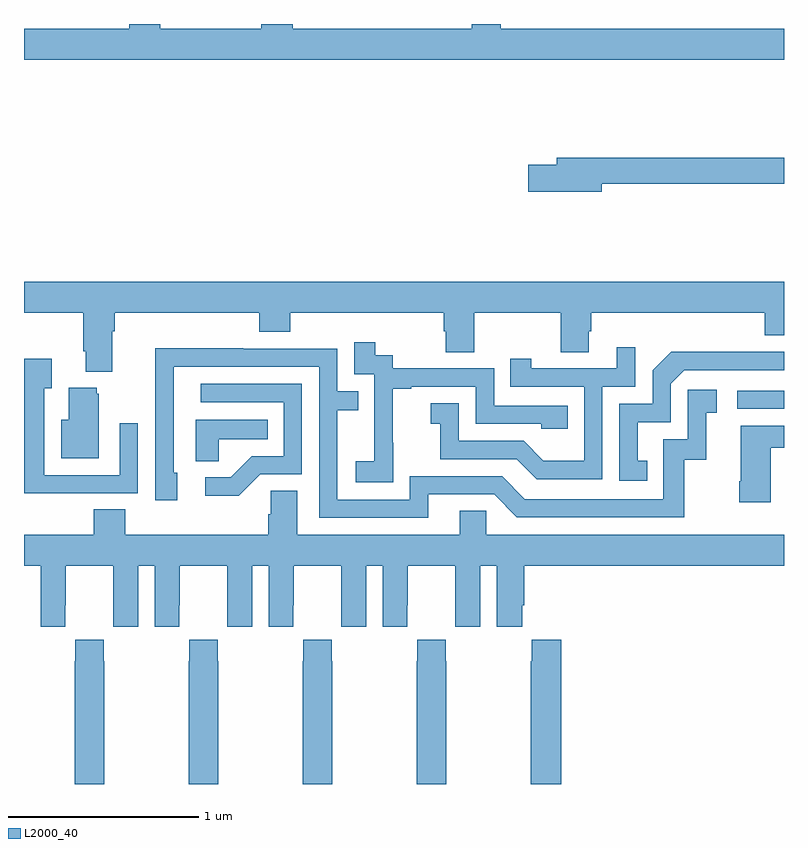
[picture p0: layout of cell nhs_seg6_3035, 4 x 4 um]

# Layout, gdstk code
import gdstk
lib = gdstk.Library(unit=1e-6, precision=1e-09)
def R(c, l, rs):  # rectangles x0, y0, x1, y1
    for r in rs: c.add(gdstk.rectangle(r[:2], r[2:], *l))
def P(c, l, *ps):  # polygons
    for p in ps: c.add(gdstk.Polygon(p, *l))
L2000_40 = (2000, 40)

nhs_seg6_3035 = lib.new_cell('nhs_seg6_3035')
R(nhs_seg6_3035, L2000_40, [(292.755,969.474,293,969.57)])
P(nhs_seg6_3035, L2000_40, [(293,971.476),(291.508,971.476),(291.508,971.5),(291.356,971.5),(291.356,971.476),(290.414,971.476),(290.414,971.5),(290.249,971.5),(290.249,971.476),(289.718,971.476),(289.718,971.5),(289.553,971.5),(289.553,971.476),(289,971.476),(289,971.312),(293,971.312)],
  [(292.042,970.66),(293,970.66),(293,970.796),(291.803,970.796),(291.803,970.76),(291.654,970.76),(291.654,970.618),(292.042,970.618)],
  [(289.465,969.884),(289.478,969.884),(289.478,969.98),(290.237,969.98),(290.237,969.881),(290.402,969.881),(290.402,969.98),(291.209,969.98),(291.209,969.882),(291.221,969.882),(291.221,969.772),(291.369,969.772),(291.369,969.98),(291.826,969.98),(291.826,969.772),(291.973,969.772),(291.973,969.882),(291.986,969.882),(291.986,969.98),(292.898,969.98),(292.898,969.863),(293,969.863),(293,970.144),(289,970.144),(289,969.98),(289.313,969.98),(289.313,969.778),(289.325,969.778),(289.325,969.671),(289.465,969.671)],
  [(290.943,969.295),(290.942,969.295),(290.942,969.579),(291.037,969.579),(291.037,969.591),(291.378,969.591),(291.378,969.396),(291.723,969.396),(291.723,969.369),(291.863,969.369),(291.863,969.492),(291.474,969.492),(291.474,969.687),(290.94,969.687),(290.94,969.756),(290.848,969.756),(290.848,969.826),(290.739,969.826),(290.739,969.657),(290.844,969.657),(290.844,969.428),(290.843,969.428),(290.843,969.199),(290.745,969.199),(290.745,969.089),(290.943,969.089)],
  [(292.044,969.591),(292.218,969.591),(292.218,969.799),(292.121,969.799),(292.121,969.687),(291.67,969.687),(291.67,969.739),(291.559,969.739),(291.559,969.591),(291.948,969.591),(291.948,969.202),(291.734,969.202),(291.63,969.306),(291.288,969.306),(291.288,969.505),(291.141,969.505),(291.141,969.395),(291.19,969.395),(291.19,969.21),(291.593,969.21),(291.698,969.105),(292.044,969.105)],
  [(291.127,969.024),(291.474,969.024),(291.594,968.904),(292.474,968.904),(292.474,969.207),(292.592,969.207),(292.592,969.453),(292.645,969.453),(292.645,969.574),(292.494,969.574),(292.494,969.315),(292.365,969.315),(292.365,969),(291.636,969),(291.516,969.12),(291.03,969.12),(291.03,968.997),(290.649,968.997),(290.649,969.466),(290.759,969.466),(290.759,969.567),(290.649,969.567),(290.649,969.792),(290.153,969.792),(290.153,969.794),(289.69,969.794),(289.69,969.487),(289.692,969.487),(289.692,968.994),(289.807,968.994),(289.807,969.138),(289.788,969.138),(289.788,969.696),(290.553,969.696),(290.553,968.901),(291.127,968.901)],
  [(292.28,969.201),(292.231,969.201),(292.231,969.405),(292.404,969.405),(292.404,969.606),(292.476,969.678),(293,969.678),(293,969.774),(292.814,969.774),(292.814,969.776),(292.406,969.776),(292.308,969.678),(292.308,969.501),(292.134,969.501),(292.134,969.096),(292.28,969.096)],
  [(289.283,969.03),(289.599,969.03),(289.599,969.4),(289.503,969.4),(289.503,969.126),(289.107,969.126),(289.107,969.583),(289.147,969.583),(289.147,969.739),(289,969.739),(289,969.029),(289.283,969.029)],
  [(290.244,969.129),(290.463,969.129),(290.463,969.606),(289.929,969.606),(289.929,969.51),(290.367,969.51),(290.367,969.225),(290.198,969.225),(290.087,969.114),(289.953,969.114),(289.953,969.017),(290.131,969.017)],
  [(289.393,969.555),(289.382,969.555),(289.382,969.586),(289.235,969.586),(289.235,969.418),(289.196,969.418),(289.196,969.215),(289.393,969.215)],
  [(290.025,969.314),(290.282,969.314),(290.282,969.418),(289.904,969.418),(289.904,969.199),(290.025,969.199)],
  [(292.93,969.271),(293,969.271),(293,969.385),(292.772,969.385),(292.772,969.094),(292.765,969.094),(292.765,968.982),(292.93,968.982)],
  [(289.218,968.44),(289.219,968.44),(289.219,968.648),(289.469,968.648),(289.469,968.44),(289.47,968.44),(289.47,968.328),(289.6,968.328),(289.6,968.648),(289.688,968.648),(289.688,968.328),(289.818,968.328),(289.818,968.44),(289.819,968.44),(289.819,968.648),(290.069,968.648),(290.069,968.44),(290.07,968.44),(290.07,968.328),(290.2,968.328),(290.2,968.648),(290.288,968.648),(290.288,968.328),(290.418,968.328),(290.418,968.44),(290.419,968.44),(290.419,968.648),(290.669,968.648),(290.669,968.44),(290.67,968.44),(290.67,968.328),(290.8,968.328),(290.8,968.648),(290.888,968.648),(290.888,968.328),(291.018,968.328),(291.018,968.44),(291.019,968.44),(291.019,968.648),(291.269,968.648),(291.269,968.44),(291.27,968.44),(291.27,968.328),(291.4,968.328),(291.4,968.648),(291.488,968.648),(291.488,968.328),(291.622,968.328),(291.622,968.44),(291.632,968.44),(291.632,968.648),(293,968.648),(293,968.812),(291.432,968.812),(291.432,968.939),(291.293,968.939),(291.293,968.812),(290.437,968.812),(290.437,969.044),(290.298,969.044),(290.298,968.921),(290.285,968.921),(290.285,968.812),(289.532,968.812),(289.532,968.945),(289.367,968.945),(289.367,968.812),(289,968.812),(289,968.648),(289.088,968.648),(289.088,968.328),(289.218,968.328)],
  [(289.422,968.147),(289.419,968.147),(289.419,968.26),(289.269,968.26),(289.269,968.147),(289.267,968.147),(289.267,967.5),(289.422,967.5)],
  [(291.827,968.26),(291.673,968.26),(291.673,968.147),(291.667,968.147),(291.667,967.5),(291.827,967.5)],
  [(291.222,968.147),(291.219,968.147),(291.219,968.26),(291.069,968.26),(291.069,968.147),(291.067,968.147),(291.067,967.5),(291.222,967.5)],
  [(290.622,968.147),(290.619,968.147),(290.619,968.26),(290.469,968.26),(290.469,968.147),(290.467,968.147),(290.467,967.5),(290.622,967.5)],
  [(290.022,968.147),(290.019,968.147),(290.019,968.26),(289.869,968.26),(289.869,968.147),(289.867,968.147),(289.867,967.5),(290.022,967.5)])

lib.write_gds('nhs_seg6_3035.gds')
